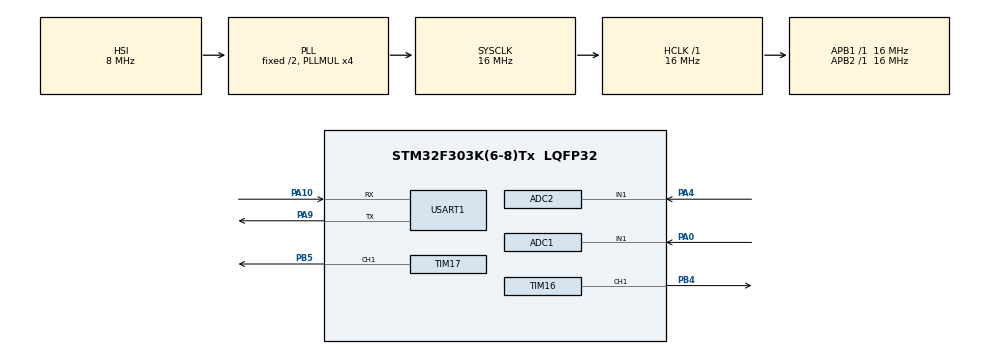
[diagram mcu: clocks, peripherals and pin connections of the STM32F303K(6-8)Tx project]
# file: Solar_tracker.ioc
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Mcu.Family=STM32F3
ADC2.SamplingTimeOPAMP-0\#ChannelRegularConversion=ADC_SAMPLETIME_4CYCLES_5
RCC.CortexFreq_Value=16000000
VP_TIM17_VS_ClockSourceINT.Mode=Enable_Timer
ADC1.Rank-0\#ChannelRegularConversion=1
PA10.Mode=Asynchronous
ADC2.Channel-0\#ChannelRegularConversion=ADC_CHANNEL_1
ADC1.OffsetNumber-0\#ChannelRegularConversion=ADC_OFFSET_NONE
RCC.SYSCLKSourceVirtual=RCC_SYSCLKSOURCE_PLLCLK
SH.S_TIM16_CH1.0=TIM16_CH1,PWM Generation1 CH1
VP_TIM16_VS_ClockSourceINT.Mode=Enable_Timer
TIM16.Channel=TIM_CHANNEL_1
ProjectManager.StackSize=0x400
USART1.VirtualMode-Asynchronous=VM_ASYNC
PA9.Mode=Asynchronous
PA4.Mode=IN1-Single-Ended
ProjectManager.TargetToolchain=STM32CubeIDE
ADC1.SamplingTimeOPAMP-0\#ChannelRegularConversion=ADC_SAMPLETIME_4CYCLES_5
ADC1.Offset-0\#ChannelRegularConversion=0
RCC.HCLKFreq_Value=16000000
ADC1.Resolution=ADC_RESOLUTION_8B
RCC.APB2TimFreq_Value=16000000
PA9.Signal=USART1_TX
ADC1.SubFamily=STM32F303x8
RCC.AHBFreq_Value=16000000
ADC1.Channel-0\#ChannelRegularConversion=ADC_CHANNEL_1
RCC.HSE_VALUE=8000000
ADC2.OffsetNumber-0\#ChannelRegularConversion=ADC_OFFSET_NONE
board=custom
TIM17.Channel=TIM_CHANNEL_1
RCC.PLLMUL=RCC_PLL_MUL4
RCC.APB2Freq_Value=16000000
PA0.Mode=IN1-Single-Ended
RCC.USART3Enable-ClockTree=true
Mcu.Name=STM32F303K(6-8)Tx
ADC2.Resolution=ADC_RESOLUTION_8B
ADC1.SamplingTime-0\#ChannelRegularConversion=ADC_SAMPLETIME_1CYCLE_5
PA0.Signal=ADC1_IN1
PA4.Signal=ADC2_IN1
RCC.SYSCLKFreq_VALUE=16000000
Mcu.Package=LQFP32
PB5.Signal=S_TIM17_CH1
ADC2.Offset-0\#ChannelRegularConversion=0
ADC1.master=1
ADC2.NbrOfConversionFlag=1
PA10.Signal=USART1_RX
ProjectManager.HeapSize=0x200
ADC2.SamplingTime-0\#ChannelRegularConversion=ADC_SAMPLETIME_1CYCLE_5
RCC.HSI_VALUE=8000000
SH.S_TIM17_CH1.0=TIM17_CH1,PWM Generation1 CH1
ADC2.SubFamily=STM32F303x8
NVIC.PriorityGroup=NVIC_PRIORITYGROUP_4
ADC1.NbrOfConversionFlag=1
RCC.APB1TimFreq_Value=16000000
ADC2.Rank-0\#ChannelRegularConversion=1
RCC.APB1Freq_Value=16000000
PB4.Signal=S_TIM16_CH1

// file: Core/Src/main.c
/* USER CODE BEGIN Header */
/**
  ******************************************************************************
  * @file           : main.c
  * @brief          : Main program body
  ******************************************************************************
  * @attention
  *
  * <h2><center>&copy; Copyright (c) 2021 STMicroelectronics.
  * All rights reserved.</center></h2>
  *
  * This software component is licensed by ST under BSD 3-Clause license,
  * the "License"; You may not use this file except in compliance with the
  * License. You may obtain a copy of the License at:
  *                        opensource.org/licenses/BSD-3-Clause
  *
  ******************************************************************************
  */
/* USER CODE END Header */
#include "main.h"
#include "adc.h"
#include "tim.h"
#include "usart.h"
#include "gpio.h"

void SystemClock_Config(void);

/* USER CODE BEGIN 0 */
int _write(int file , char *ptr , int len){
  HAL_UART_Transmit(&huart1 , ptr , len , 50);
  return len;
}

/* USER CODE END 0 */

int main(void)
{

  /* MCU Configuration--------------------------------------------------------*/

  /* Reset of all peripherals, Initializes the Flash interface and the Systick. */
  HAL_Init();

  /* Configure the system clock */
  SystemClock_Config();

  /* Initialize all configured peripherals */
  MX_GPIO_Init();
  MX_ADC1_Init();
  MX_TIM16_Init();
  MX_TIM17_Init();
  MX_USART1_UART_Init();
  MX_ADC2_Init();
  /* USER CODE BEGIN 2 */
  HAL_ADC_Start(&hadc1);
  /* USER CODE END 2 */

  /* Infinite loop */
  /* USER CODE BEGIN WHILE */

  uint8_t light=0;
  uint8_t light2=0;
  int8_t dist = 0;

  while (1)
  {
    light = HAL_ADC_GetValue(&hadc1);
    light2 = HAL_ADC_GetValue(&hadc2);
    dist = light2 - light;
    //light = (light * 100)/127;
    HAL_ADC_Start(&hadc1);
    HAL_ADC_Start(&hadc2);

    printf("light1 = %d \r\n", light );
    printf("light2 = %d \r\n", light2 );
    printf("distance = %d \r\n", dist );
    printf("\r\n\n\n");
    HAL_Delay(100);
    /* USER CODE END WHILE */

  }
}

void SystemClock_Config(void)
{
  RCC_OscInitTypeDef RCC_OscInitStruct = {0};
  RCC_ClkInitTypeDef RCC_ClkInitStruct = {0};
  RCC_PeriphCLKInitTypeDef PeriphClkInit = {0};

  /** Initializes the RCC Oscillators according to the specified parameters
  * in the RCC_OscInitTypeDef structure.
  */
  RCC_OscInitStruct.OscillatorType = RCC_OSCILLATORTYPE_HSI;
  RCC_OscInitStruct.HSIState = RCC_HSI_ON;
  RCC_OscInitStruct.HSICalibrationValue = RCC_HSICALIBRATION_DEFAULT;
  RCC_OscInitStruct.PLL.PLLState = RCC_PLL_ON;
  RCC_OscInitStruct.PLL.PLLSource = RCC_PLLSOURCE_HSI;
  RCC_OscInitStruct.PLL.PLLMUL = RCC_PLL_MUL4;
  if (HAL_RCC_OscConfig(&RCC_OscInitStruct) != HAL_OK)
  {
    Error_Handler();
  }
  /** Initializes the CPU, AHB and APB buses clocks
  */
  RCC_ClkInitStruct.ClockType = RCC_CLOCKTYPE_HCLK|RCC_CLOCKTYPE_SYSCLK
                              |RCC_CLOCKTYPE_PCLK1|RCC_CLOCKTYPE_PCLK2;
  RCC_ClkInitStruct.SYSCLKSource = RCC_SYSCLKSOURCE_PLLCLK;
  RCC_ClkInitStruct.AHBCLKDivider = RCC_SYSCLK_DIV1;
  RCC_ClkInitStruct.APB1CLKDivider = RCC_HCLK_DIV1;
  RCC_ClkInitStruct.APB2CLKDivider = RCC_HCLK_DIV1;

  if (HAL_RCC_ClockConfig(&RCC_ClkInitStruct, FLASH_LATENCY_0) != HAL_OK)
  {
    Error_Handler();
  }
  PeriphClkInit.PeriphClockSelection = RCC_PERIPHCLK_USART1|RCC_PERIPHCLK_ADC12;
  PeriphClkInit.Usart1ClockSelection = RCC_USART1CLKSOURCE_PCLK1;
  PeriphClkInit.Adc12ClockSelection = RCC_ADC12PLLCLK_DIV1;
  if (HAL_RCCEx_PeriphCLKConfig(&PeriphClkInit) != HAL_OK)
  {
    Error_Handler();
  }
}

void Error_Handler(void)
{
  __disable_irq();
  while (1)
  {
  }
}

/************************ (C) COPYRIGHT STMicroelectronics *****END OF FILE****/
